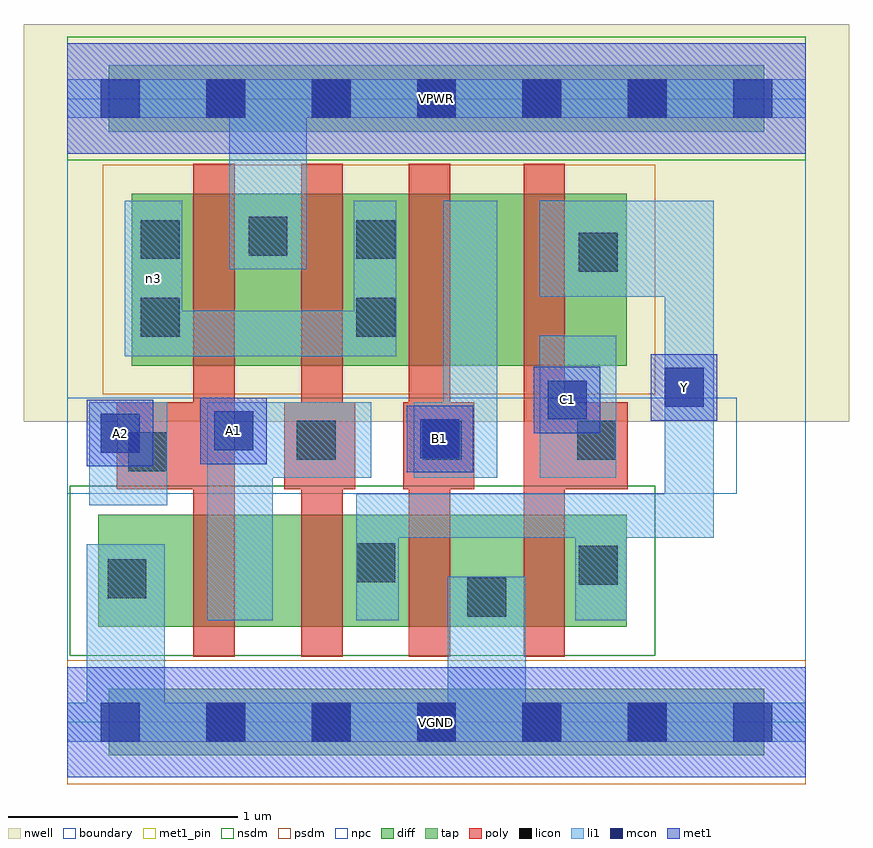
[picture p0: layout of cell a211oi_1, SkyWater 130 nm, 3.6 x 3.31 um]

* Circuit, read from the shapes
.subckt a211oi_1 A1 A2 B1 C1 VGND VPWR Y n3
XM1 n1 A2 VGND VGND sky130_fd_pr__nfet_01v8 w=0.49 l=0.18
XM2 Y A1 n1 VGND sky130_fd_pr__nfet_01v8 w=0.49 l=0.18
XM3 VGND B1 Y VGND sky130_fd_pr__nfet_01v8 w=0.49 l=0.18
XM4 Y C1 VGND VGND sky130_fd_pr__nfet_01v8 w=0.49 l=0.18
XM5 VPWR A2 n3 VPWR sky130_fd_pr__pfet_01v8 w=0.75 l=0.18
XM6 n3 A1 VPWR VPWR sky130_fd_pr__pfet_01v8 w=0.75 l=0.18
XM7 n2 B1 n3 VPWR sky130_fd_pr__pfet_01v8 w=0.75 l=0.18
XM8 Y C1 n2 VPWR sky130_fd_pr__pfet_01v8 w=0.75 l=0.18
.ends

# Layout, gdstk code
import gdstk
lib = gdstk.Library(unit=1e-6, precision=1e-09)
def R(c, l, rs):  # rectangles x0, y0, x1, y1
    for r in rs: c.add(gdstk.rectangle(r[:2], r[2:], *l))
def A(c, l, x, y, w, h, nx, ny, dx, dy):  # array of equal rectangles
    R(c, l, [(x+i*dx, y+j*dy, x+i*dx+w, y+j*dy+h) for i in range(nx) for j in range(ny)])
nwell = (64, 20)
diff = (65, 20)
tap = (65, 44)
poly = (66, 20)
licon = (66, 44)
li1 = (67, 20)
mcon = (67, 44)
met1_pin = (68, 16)
met1 = (68, 20)
nsdm = (93, 44)
psdm = (94, 20)
npc = (95, 20)
boundary = (235, 4)

a211oi_1 = lib.new_cell('a211oi_1')
R(a211oi_1, nwell, [(-0.19,1.31,3.41,3.045), (0,1.31,3.22,3.045)])
R(a211oi_1, diff, [(0.135,0.415,2.44,0.905), (0.28,1.555,2.44,2.305)])
R(a211oi_1, tap, [(0.18,-0.145,3.04,0.145), (0.18,2.575,3.04,2.865)])
A(a211oi_1, poly, 0.55, 0.285, 0.18, 2.15, 3, 1, 0.47, 0)
R(a211oi_1, poly, [(1.99,0.285,2.17,2.435), (0.215,1.015,0.73,1.395), (0.945,1.015,1.255,1.395), (1.465,1.015,1.775,1.395), (1.99,1.015,2.445,1.395)])
A(a211oi_1, licon, 0.605, -0.085, 0.17, 0.17, 5, 2, 0.46, 2.72)
R(a211oi_1, licon, [(1.745,0.46,1.915,0.63), (0.175,0.54,0.345,0.71), (2.23,0.6,2.4,0.77), (1.26,0.61,1.43,0.78), (0.265,1.095,0.435,1.265), (1,1.145,1.17,1.315), (1.55,1.145,1.72,1.315), (2.225,1.145,2.395,1.315), (0.32,1.68,0.49,1.85), (1.26,1.68,1.43,1.85), (2.23,1.965,2.4,2.135), (0.32,2.02,0.49,2.19), (1.26,2.02,1.43,2.19), (0.79,2.035,0.96,2.205)])
R(a211oi_1, li1, [(0,-0.085,3.22,0.085), (0.085,-0.085,0.425,0.775), (1.66,-0.085,2,0.635), (0.61,0.445,0.895,1.395), (1.26,0.445,1.445,0.995), (2.215,0.445,2.44,0.995), (1.26,0.805,2.82,0.995), (2.605,0.805,2.82,2.275), (0.095,0.945,0.435,1.395), (0.61,1.065,1.325,1.395), (1.51,1.065,1.875,1.395), (1.64,1.065,1.875,2.275), (2.06,1.065,2.395,1.685), (0.25,1.595,0.5,2.275), (0.25,1.595,1.435,1.795), (1.25,1.595,1.435,2.275), (2.06,1.855,2.82,2.275), (0.705,1.975,1.045,2.805), (0,2.635,3.22,2.805)])
A(a211oi_1, mcon, 0.145, -0.085, 0.17, 0.17, 7, 2, 0.46, 2.72)
R(a211oi_1, mcon, [(1.54,1.15,1.71,1.32), (0.145,1.175,0.315,1.345), (0.64,1.185,0.81,1.355), (2.095,1.32,2.265,1.49), (2.605,1.375,2.775,1.545)])
R(a211oi_1, met1_pin, [(0,-0.24,3.22,0.24), (1.48,1.09,1.77,1.38), (0.085,1.115,0.375,1.405), (0.58,1.125,0.87,1.415), (2.035,1.26,2.325,1.55), (2.545,1.315,2.835,1.605), (0,2.48,3.22,2.96)])
R(a211oi_1, met1, [(0,-0.24,3.22,0.24), (1.48,1.09,1.77,1.38), (0.085,1.115,0.375,1.405), (0.58,1.125,0.87,1.415), (2.035,1.26,2.325,1.55), (2.545,1.315,2.835,1.605), (0,2.48,3.22,2.96)])
R(a211oi_1, nsdm, [(0.01,0.29,2.565,1.03), (0,2.45,3.22,2.99)])
R(a211oi_1, psdm, [(0,-0.27,3.22,0.27), (0.155,1.43,2.565,2.43)])
R(a211oi_1, npc, [(0,0.995,2.92,1.415)])
R(a211oi_1, boundary, [(0,0,3.22,2.72)])
a211oi_1.add(gdstk.Label('n3', (0.375,1.935), layer=67, texttype=5))
a211oi_1.add(gdstk.Label('A1', (0.725,1.27), layer=68, texttype=5))
a211oi_1.add(gdstk.Label('A2', (0.23,1.26), layer=68, texttype=5))
a211oi_1.add(gdstk.Label('B1', (1.625,1.235), layer=68, texttype=5))
a211oi_1.add(gdstk.Label('C1', (2.18,1.405), layer=68, texttype=5))
a211oi_1.add(gdstk.Label('Y', (2.69,1.46), layer=68, texttype=5))
a211oi_1.add(gdstk.Label('VPWR', (1.61,2.72), layer=68, texttype=5))
a211oi_1.add(gdstk.Label('VGND', (1.61,0), layer=68, texttype=5))
a211oi_1.add(gdstk.Label('A1', (0.725,1.27), layer=68, texttype=16))
a211oi_1.add(gdstk.Label('A2', (0.23,1.26), layer=68, texttype=16))
a211oi_1.add(gdstk.Label('B1', (1.625,1.235), layer=68, texttype=16))
a211oi_1.add(gdstk.Label('C1', (2.18,1.405), layer=68, texttype=16))
a211oi_1.add(gdstk.Label('Y', (2.69,1.46), layer=68, texttype=16))
a211oi_1.add(gdstk.Label('VPWR', (1.61,2.72), layer=68, texttype=16))
a211oi_1.add(gdstk.Label('VGND', (1.61,0), layer=68, texttype=16))

lib.write_gds('a211oi_1.gds')
